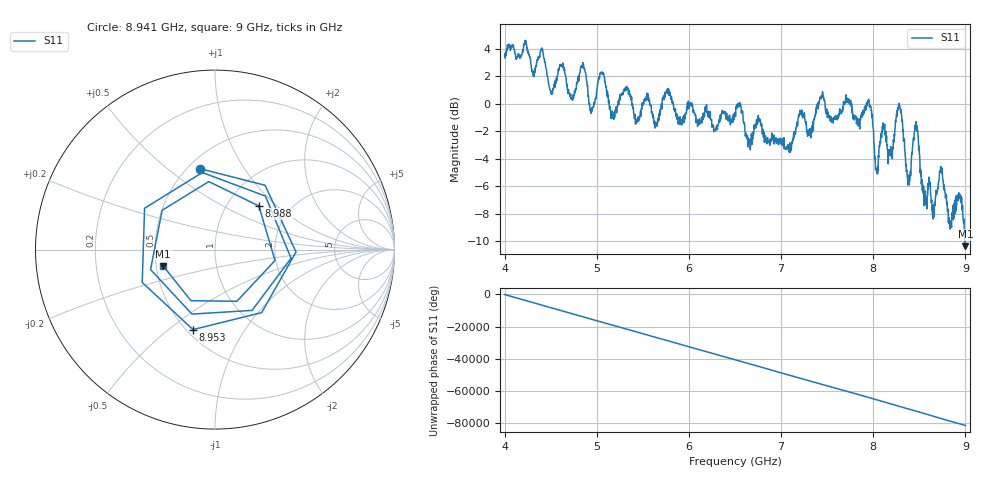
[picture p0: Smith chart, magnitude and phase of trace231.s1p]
! Created with skrf 1.8.0 (http://scikit-rf.org).
# Hz S RI R 50.0
!freq ReS11 ImS11
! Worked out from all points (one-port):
!   1601 points, 4 GHz to 9 GHz, reference 50 ohm
!   lowest |S11| = -10.4 dB at 9 GHz (marker M1), VSWR 1.87, Z = 27.2 - j5.42 ohm
!   |S11| at or under -10 dB: 8.99359 GHz to end of sweep
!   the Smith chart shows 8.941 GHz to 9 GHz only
!   S11 on the Smith chart (normalised r, x): 8.941 GHz: 0.57, +0.65; 8.953 GHz: 0.54, -0.61; 8.988 GHz: 1.40, +0.77; 9 GHz: 0.54, -0.11
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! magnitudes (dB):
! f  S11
! 4 GHz  3.5
! 4.406 GHz  4.0
! 4.509 GHz  0.7
! 4.625 GHz  2.7
! 4.731 GHz  0.4
! 4.853 GHz  2.8
! 4.941 GHz  -0.3
! 5.053 GHz  2.2
! 5.162 GHz  -0.8
! 5.25 GHz  0.3
! 5.875 GHz  -0.9
! 6.5 GHz  -0.7
! 7.125 GHz  -2.6
! 7.438 GHz  0.6
! 7.75 GHz  0.1
! 7.956 GHz  0.1
! 8.038 GHz  -5.0
! 8.188 GHz  -3.6
! 8.284 GHz  -0.1
! 8.375 GHz  -5.9
! 8.462 GHz  -1.3
! 8.559 GHz  -6.6
! 8.734 GHz  -4.6
! 8.831 GHz  -8.5
! 8.941 GHz  -6.8
! 8.953 GHz  -6.7
! 8.988 GHz  -9.2
! 9 GHz  -10.4
